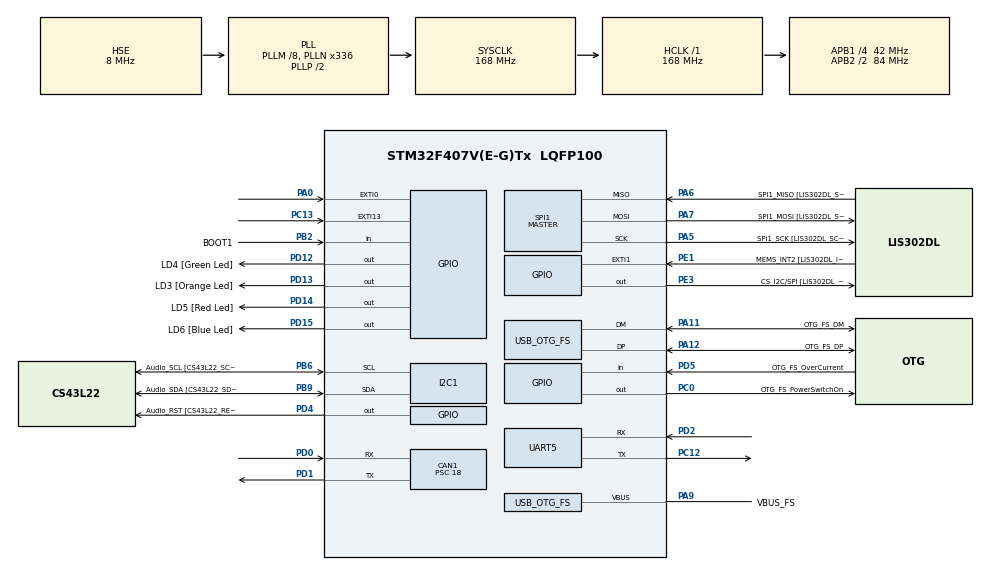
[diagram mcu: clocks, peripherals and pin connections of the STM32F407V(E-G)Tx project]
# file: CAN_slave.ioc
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CAN1.BS1=CAN_BS1_2TQ
CAN1.BS2=CAN_BS2_2TQ
CAN1.CalculateBaudRate=466666
CAN1.CalculateTimeBit=2142
CAN1.CalculateTimeQuantum=428.57142857142856
CAN1.Prescaler=18
Mcu.Family=STM32F4
Mcu.Name=STM32F407V(E-G)Tx
Mcu.Package=LQFP100
NVIC.CAN1_RX1_IRQn=true\:0\:0\:false\:false\:true\:true\:true\:true
NVIC.EXTI0_IRQn=true\:0\:0\:false\:false\:true\:true\:true\:true
NVIC.EXTI15_10_IRQn=true\:0\:0\:false\:false\:true\:true\:true\:true
NVIC.OTG_FS_IRQn=true\:0\:0\:false\:false\:true\:true\:true\:true
NVIC.PriorityGroup=NVIC_PRIORITYGROUP_0
PA0-WKUP.GPIO_ModeDefaultEXTI=GPIO_MODE_IT_RISING
PA0-WKUP.Signal=GPXTI0
PA10.GPIO_Label=OTG_FS_ID
PA10.GPIO_Mode=GPIO_MODE_AF_PP
PA10.GPIO_PuPd=GPIO_NOPULL
PA10.GPIO_Speed=GPIO_SPEED_FREQ_LOW
PA10.Signal=USB_OTG_FS_ID
PA11.GPIO_Label=OTG_FS_DM
PA11.GPIO_Mode=GPIO_MODE_AF_PP
PA11.GPIO_PuPd=GPIO_NOPULL
PA11.GPIO_Speed=GPIO_SPEED_FREQ_LOW
PA11.Mode=Host_Only
PA11.Signal=USB_OTG_FS_DM
PA12.GPIO_Label=OTG_FS_DP
PA12.GPIO_Mode=GPIO_MODE_AF_PP
PA12.GPIO_PuPd=GPIO_NOPULL
PA12.GPIO_Speed=GPIO_SPEED_FREQ_LOW
PA12.Mode=Host_Only
PA12.Signal=USB_OTG_FS_DP
PA13.GPIO_Label=SWDIO
PA13.Mode=Serial_Wire
PA13.Signal=SYS_JTMS-SWDIO
PA14.GPIO_Label=SWCLK
PA14.Mode=Serial_Wire
PA14.Signal=SYS_JTCK-SWCLK
PA4.GPIO_Label=I2S3_WS [CS43L22_LRCK]
PA4.GPIO_Mode=GPIO_MODE_AF_PP
PA4.GPIO_PuPd=GPIO_NOPULL
PA4.GPIO_Speed=GPIO_SPEED_FREQ_LOW
PA4.Signal=I2S3_WS
PA5.GPIO_Label=SPI1_SCK [LIS302DL_SCL/SPC]
PA5.GPIO_Mode=GPIO_MODE_AF_PP
PA5.GPIO_PuPd=GPIO_NOPULL
PA5.GPIO_Speed=GPIO_SPEED_FREQ_LOW
PA5.Mode=Full_Duplex_Master
PA5.Signal=SPI1_SCK
PA6.GPIO_Label=SPI1_MISO [LIS302DL_SDO]
PA6.GPIO_Mode=GPIO_MODE_AF_PP
PA6.GPIO_PuPd=GPIO_NOPULL
PA6.GPIO_Speed=GPIO_SPEED_FREQ_LOW
PA6.Mode=Full_Duplex_Master
PA6.Signal=SPI1_MISO
PA7.GPIO_Label=SPI1_MOSI [LIS302DL_SDA/SDI/SDO]
PA7.GPIO_Mode=GPIO_MODE_AF_PP
PA7.GPIO_PuPd=GPIO_NOPULL
PA7.GPIO_Speed=GPIO_SPEED_FREQ_LOW
PA7.Mode=Full_Duplex_Master
PA7.Signal=SPI1_MOSI
PA9.GPIO_Label=VBUS_FS
PA9.GPIO_Mode=GPIO_MODE_INPUT
PA9.GPIO_PuPd=GPIO_NOPULL
PA9.Mode=Activate_VBUS
PA9.Signal=USB_OTG_FS_VBUS
PB10.GPIO_Label=CLK_IN [MP45DT02_CLK]
PB10.GPIO_Mode=GPIO_MODE_AF_PP
PB10.GPIO_PuPd=GPIO_NOPULL
PB10.GPIO_Speed=GPIO_SPEED_FREQ_LOW
PB10.Signal=I2S2_CK
PB2.GPIO_Label=BOOT1
PB2.GPIO_Mode=GPIO_MODE_INPUT
PB2.GPIO_PuPd=GPIO_NOPULL
PB2.Signal=GPIO_Input
PB3.GPIO_Label=SWO
PB3.Signal=SYS_JTDO-SWO
PB6.GPIO_Label=Audio_SCL [CS43L22_SCL]
PB6.GPIO_Mode=GPIO_MODE_AF_OD
PB6.GPIO_Pu=GPIO_PULLUP
PB6.GPIO_PuPd=GPIO_NOPULL
PB6.GPIO_Speed=GPIO_SPEED_FREQ_LOW
PB6.Mode=I2C
PB6.Signal=I2C1_SCL
PB9.GPIO_Label=Audio_SDA [CS43L22_SDA]
PB9.GPIO_Mode=GPIO_MODE_AF_OD
PB9.GPIO_Pu=GPIO_PULLUP
PB9.GPIO_PuPd=GPIO_NOPULL
PB9.GPIO_Speed=GPIO_SPEED_FREQ_LOW
PB9.Mode=I2C
PB9.Signal=I2C1_SDA
PC0.GPIO_Label=OTG_FS_PowerSwitchOn
PC0.GPIO_PuPd=GPIO_NOPULL
PC0.GPIO_Speed=GPIO_SPEED_FREQ_LOW
PC0.PinState=GPIO_PIN_SET
PC0.Signal=GPIO_Output
PC10.GPIO_Label=I2S3_SCK [CS43L22_SCLK]
PC10.GPIO_Mode=GPIO_MODE_AF_PP
PC10.GPIO_PuPd=GPIO_NOPULL
PC10.GPIO_Speed=GPIO_SPEED_FREQ_LOW
PC10.Signal=I2S3_CK
PC12.Mode=Asynchronous
PC12.Signal=UART5_TX
PC13-ANTI_TAMP.Signal=GPXTI13
PC14-OSC32_IN.GPIO_Label=PC14-OSC32_IN
PC14-OSC32_IN.Mode=LSE-External-Oscillator
PC14-OSC32_IN.Signal=RCC_OSC32_IN
PC15-OSC32_OUT.GPIO_Label=PC15-OSC32_OUT
PC15-OSC32_OUT.Mode=LSE-External-Oscillator
PC15-OSC32_OUT.Signal=RCC_OSC32_OUT
PC3.GPIO_Label=PDM_OUT [MP45DT02_DOUT]
PC3.GPIO_Mode=GPIO_MODE_AF_PP
PC3.GPIO_PuPd=GPIO_NOPULL
PC3.GPIO_Speed=GPIO_SPEED_FREQ_LOW
PC3.Signal=I2S2_SD
PC7.GPIO_Label=I2S3_MCK [CS43L22_MCLK]
PC7.GPIO_Mode=GPIO_MODE_AF_PP
PC7.GPIO_PuPd=GPIO_NOPULL
PC7.GPIO_Speed=GPIO_SPEED_FREQ_LOW
PC7.Signal=I2S3_MCK
PD0.GPIO_Mode=GPIO_MODE_AF_PP
PD0.GPIO_PuPd=GPIO_NOPULL
PD0.GPIO_Speed=GPIO_SPEED_FREQ_VERY_HIGH
PD0.Mode=CAN_Activate
PD0.Signal=CAN1_RX
PD1.GPIO_Mode=GPIO_MODE_AF_PP
PD1.GPIO_PuPd=GPIO_NOPULL
PD1.GPIO_Speed=GPIO_SPEED_FREQ_VERY_HIGH
PD1.Mode=CAN_Activate
PD1.Signal=CAN1_TX
PD12.GPIO_Label=LD4 [Green Led]
PD12.GPIO_PuPd=GPIO_NOPULL
PD12.GPIO_Speed=GPIO_SPEED_FREQ_LOW
PD12.Signal=GPIO_Output
PD13.GPIO_Label=LD3 [Orange Led]
PD13.GPIO_PuPd=GPIO_NOPULL
PD13.GPIO_Speed=GPIO_SPEED_FREQ_LOW
PD13.Signal=GPIO_Output
PD14.GPIO_Label=LD5 [Red Led]
PD14.GPIO_PuPd=GPIO_NOPULL
PD14.GPIO_Speed=GPIO_SPEED_FREQ_LOW
PD14.Signal=GPIO_Output
PD15.GPIO_Label=LD6 [Blue Led]
PD15.GPIO_PuPd=GPIO_NOPULL
PD15.GPIO_Speed=GPIO_SPEED_FREQ_LOW
PD15.Signal=GPIO_Output
PD2.Mode=Asynchronous
PD2.Signal=UART5_RX
PD4.GPIO_Label=Audio_RST [CS43L22_RESET]
PD4.GPIO_PuPd=GPIO_NOPULL
PD4.GPIO_Speed=GPIO_SPEED_FREQ_LOW
PD4.Signal=GPIO_Output
PD5.GPIO_Label=OTG_FS_OverCurrent
PD5.GPIO_Mode=GPIO_MODE_INPUT
PD5.GPIO_PuPd=GPIO_NOPULL
PD5.Signal=GPIO_Input
PE1.GPIO_Label=MEMS_INT2 [LIS302DL_INT2]
PE1.GPIO_ModeDefaultEXTI=GPIO_MODE_EVT_RISING
PE1.GPIO_PuPd=GPIO_NOPULL
PE1.Signal=GPXTI1
PE3.GPIO_Label=CS_I2C/SPI [LIS302DL_CS_I2C/SPI]
PE3.GPIO_PuPd=GPIO_NOPULL
PE3.GPIO_Speed=GPIO_SPEED_FREQ_LOW
PE3.Signal=GPIO_Output
PH0-OSC_IN.GPIO_Label=PH0-OSC_IN
PH0-OSC_IN.Mode=HSE-External-Oscillator
PH0-OSC_IN.Signal=RCC_OSC_IN
PH1-OSC_OUT.GPIO_Label=PH1-OSC_OUT
PH1-OSC_OUT.Mode=HSE-External-Oscillator
PH1-OSC_OUT.Signal=RCC_OSC_OUT
ProjectManager.HeapSize=0x200
ProjectManager.StackSize=0x400
ProjectManager.TargetToolchain=STM32CubeIDE
RCC.48MHZClocksFreq_Value=48000000
RCC.AHBFreq_Value=168000000
RCC.APB1CLKDivider=RCC_HCLK_DIV4
RCC.APB1Freq_Value=42000000
RCC.APB1TimFreq_Value=84000000
RCC.APB2CLKDivider=RCC_HCLK_DIV2
RCC.APB2Freq_Value=84000000
RCC.APB2TimFreq_Value=168000000
RCC.CortexFreq_Value=168000000
RCC.HCLKFreq_Value=168000000
RCC.HSE_VALUE=8000000
RCC.HSI_VALUE=16000000
RCC.PLLM=8
RCC.PLLN=336
RCC.PLLQ=7
RCC.SYSCLKFreq_VALUE=168000000
RCC.SYSCLKSource=RCC_SYSCLKSOURCE_PLLCLK
RCC.VCOOutputFreq_Value=336000000
SPI1.BaudRatePrescaler-Full_Duplex_Master=SPI_BAUDRATEPRESCALER_2
SPI1.CalculateBaudRate-Full_Duplex_Master=42.0 MBits/s
SPI1.Direction=SPI_DIRECTION_2LINES
SPI1.Mode=SPI_MODE_MASTER
SPI1.Mode-Full_Duplex_Master=SPI_MODE_MASTER
SPI1.VirtualType=VM_MASTER
UART5.VirtualMode=Asynchronous
USB_HOST.BSP.number=1
USB_HOST.USBH_HandleTypeDef-CDC_FS=hUsbHostFS
USB_HOST.VirtualModeFS=Cdc
USB_HOST0.BSP.STBoard=false
USB_HOST0.BSP.api=Unknown
USB_HOST0.BSP.instance=PC0
USB_HOST0.BSP.ip=GPIO
USB_HOST0.BSP.mode=Output
USB_HOST0.BSP.name=Drive_VBUS_FS
USB_HOST0.BSP.solution=PC0
USB_OTG_FS.VirtualMode=Host_Only
USB_OTG_FS.phy_itface=HCD_PHY_EMBEDDED
VP_USB_HOST_VS_USB_HOST_CDC_FS.Mode=CDC_FS
board=STM32F407G-DISC1

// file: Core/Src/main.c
/* USER CODE BEGIN Header */
/**
  ******************************************************************************
  * @file           : main.c
  * @brief          : Main program body
  ******************************************************************************
  * @attention
  *
  * Copyright (c) 2023 STMicroelectronics.
  * All rights reserved.
  *
  * This software is licensed under terms that can be found in the LICENSE file
  * in the root directory of this software component.
  * If no LICENSE file comes with this software, it is provided AS-IS.
  *
  ******************************************************************************
  */
/* USER CODE END Header */
#include "main.h"
#include "usb_host.h"

CAN_HandleTypeDef hcan1;

I2C_HandleTypeDef hi2c1;

SPI_HandleTypeDef hspi1;

UART_HandleTypeDef huart5;

void SystemClock_Config(void);
static void MX_GPIO_Init(void);
static void MX_I2C1_Init(void);
static void MX_SPI1_Init(void);
static void MX_CAN1_Init(void);
static void MX_UART5_Init(void);
void MX_USB_HOST_Process(void);

/* USER CODE BEGIN 0 */

	  char temp[30]; // gia tri cua nhiet do
	  char humi[30]; // gia tri cua do am

	CAN_TxHeaderTypeDef TxHeader;
	CAN_RxHeaderTypeDef RxHeader;

	uint8_t TxData[8];
	uint8_t RxData[8];

	uint32_t TxMailbox;

	int datacheck = 0;

	void HAL_CAN_RxFifo1MsgPendingCallback(CAN_HandleTypeDef *hcan)
	{
		if (HAL_CAN_GetRxMessage(hcan, CAN_RX_FIFO1, &RxHeader, RxData) != HAL_OK) //add
		{
			Error_Handler();
		}
		HAL_GPIO_WritePin(GPIOD, GPIO_PIN_12, GPIO_PIN_SET);

		//if (RxHeader.DLC == 2)

		if (RxHeader.StdId== 0x446)
		{
			datacheck = 1;
		}

	}

/* USER CODE END 0 */

int main(void)
{

  /* MCU Configuration--------------------------------------------------------*/

  /* Reset of all peripherals, Initializes the Flash interface and the Systick. */
  HAL_Init();

  /* Configure the system clock */
  SystemClock_Config();

  /* Initialize all configured peripherals */
  MX_GPIO_Init();
  MX_I2C1_Init();
  MX_SPI1_Init();
  MX_USB_HOST_Init();
  MX_CAN1_Init();
  MX_UART5_Init();
  /* USER CODE BEGIN 2 */

  	HAL_CAN_Start(&hcan1);
  	// Activate the notification
  	if (HAL_CAN_ActivateNotification(&hcan1, CAN_IT_RX_FIFO1_MSG_PENDING) != HAL_OK)
  	{
  		Error_Handler();
  	}

  	TxHeader.DLC = 4;  // Data length
  	TxHeader.IDE = CAN_ID_STD;
  	TxHeader.RTR = CAN_RTR_DATA;
  	TxHeader.StdId = 0x103;  // ID

  	RxHeader.DLC = 4;

  	TxData[0] = 50; // Delay (ms)
  	TxData[1] = 20; // Numbers of Loop

  	/* Infinite loop */
  	/* USER CODE BEGIN WHILE */

  /* USER CODE END 2 */

  /* Infinite loop */
  /* USER CODE BEGIN WHILE */

  /* USER CODE END 2 */

  /* Infinite loop */
  /* USER CODE BEGIN WHILE */

  /* USER CODE END 2 */

  /* Infinite loop */
  /* USER CODE BEGIN WHILE */

  /* USER CODE END 2 */

  /* Infinite loop */
  /* USER CODE BEGIN WHILE */

  /* USER CODE END 2 */

  /* Infinite loop */
  /* USER CODE BEGIN WHILE */

  /* USER CODE END 2 */

  /* Infinite loop */
  /* USER CODE BEGIN WHILE */

  /* USER CODE END 2 */

  /* Infinite loop */
  /* USER CODE BEGIN WHILE */

  /* USER CODE END 2 */

  /* Infinite loop */
  /* USER CODE BEGIN WHILE */

  /* USER CODE END 2 */

  /* Infinite loop */
  /* USER CODE BEGIN WHILE */

  /* USER CODE END 2 */

  /* Infinite loop */
  /* USER CODE BEGIN WHILE */

  /* USER CODE END 2 */

  /* Infinite loop */
  /* USER CODE BEGIN WHILE */

  /* USER CODE END 2 */

  /* Infinite loop */
  /* USER CODE BEGIN WHILE */

  /* USER CODE END 2 */

  /* Infinite loop */
  /* USER CODE BEGIN WHILE */

  while (1)
  {
    /* USER CODE END WHILE */
    MX_USB_HOST_Process();

    /* USER CODE BEGIN 3 */

    // blink the LED
    if(datacheck)
    {
		for (int i = 0; i < RxData[1]; i++)
		{
			HAL_GPIO_TogglePin(GPIOD, GPIO_PIN_14); // green led
			HAL_Delay(RxData[0]);
		}
		datacheck = 0;

	  	TxData[0] = 50; // Delay (ms)
	  	TxData[1] = 20; // Numbers of Loop

	  	// uint8t to char
	  	sprintf(temp, "Value of Temperature = %d\r\n", RxData[2]);
	  	sprintf(humi, "Value of Humidity = %d\r\n", RxData[3]);

	  	// Send Uart
		HAL_UART_Transmit(&huart5, temp , strlen(temp) , HAL_MAX_DELAY);
		HAL_UART_Transmit(&huart5, humi , strlen(humi) , HAL_MAX_DELAY);

		HAL_Delay(500);

	  	if (HAL_CAN_AddTxMessage(&hcan1, &TxHeader, TxData, &TxMailbox) != HAL_OK)  //add data to the transmission frame
		{
			Error_Handler();
	  	}

    }
  }
  /* USER CODE END 3 */
}

void SystemClock_Config(void)
{
  RCC_OscInitTypeDef RCC_OscInitStruct = {0};
  RCC_ClkInitTypeDef RCC_ClkInitStruct = {0};

  /** Configure the main internal regulator output voltage
  */
  __HAL_RCC_PWR_CLK_ENABLE();
  __HAL_PWR_VOLTAGESCALING_CONFIG(PWR_REGULATOR_VOLTAGE_SCALE1);

  /** Initializes the RCC Oscillators according to the specified parameters
  * in the RCC_OscInitTypeDef structure.
  */
  RCC_OscInitStruct.OscillatorType = RCC_OSCILLATORTYPE_HSE;
  RCC_OscInitStruct.HSEState = RCC_HSE_ON;
  RCC_OscInitStruct.PLL.PLLState = RCC_PLL_ON;
  RCC_OscInitStruct.PLL.PLLSource = RCC_PLLSOURCE_HSE;
  RCC_OscInitStruct.PLL.PLLM = 8;
  RCC_OscInitStruct.PLL.PLLN = 336;
  RCC_OscInitStruct.PLL.PLLP = RCC_PLLP_DIV2;
  RCC_OscInitStruct.PLL.PLLQ = 7;
  if (HAL_RCC_OscConfig(&RCC_OscInitStruct) != HAL_OK)
  {
    Error_Handler();
  }

  /** Initializes the CPU, AHB and APB buses clocks
  */
  RCC_ClkInitStruct.ClockType = RCC_CLOCKTYPE_HCLK|RCC_CLOCKTYPE_SYSCLK
                              |RCC_CLOCKTYPE_PCLK1|RCC_CLOCKTYPE_PCLK2;
  RCC_ClkInitStruct.SYSCLKSource = RCC_SYSCLKSOURCE_PLLCLK;
  RCC_ClkInitStruct.AHBCLKDivider = RCC_SYSCLK_DIV1;
  RCC_ClkInitStruct.APB1CLKDivider = RCC_HCLK_DIV4;
  RCC_ClkInitStruct.APB2CLKDivider = RCC_HCLK_DIV2;

  if (HAL_RCC_ClockConfig(&RCC_ClkInitStruct, FLASH_LATENCY_5) != HAL_OK)
  {
    Error_Handler();
  }
}

static void MX_CAN1_Init(void)
{

  hcan1.Instance = CAN1;
  hcan1.Init.Prescaler = 18;
  hcan1.Init.Mode = CAN_MODE_NORMAL;
  hcan1.Init.SyncJumpWidth = CAN_SJW_1TQ;
  hcan1.Init.TimeSeg1 = CAN_BS1_2TQ;
  hcan1.Init.TimeSeg2 = CAN_BS2_2TQ;
  hcan1.Init.TimeTriggeredMode = DISABLE;
  hcan1.Init.AutoBusOff = DISABLE;
  hcan1.Init.AutoWakeUp = DISABLE;
  hcan1.Init.AutoRetransmission = DISABLE;
  hcan1.Init.ReceiveFifoLocked = DISABLE;
  hcan1.Init.TransmitFifoPriority = DISABLE;
  if (HAL_CAN_Init(&hcan1) != HAL_OK)
  {
    Error_Handler();
  }
  /* USER CODE BEGIN CAN1_Init 2 */

	CAN_FilterTypeDef canfilterconfig;

	canfilterconfig.FilterActivation = CAN_FILTER_ENABLE;
	canfilterconfig.FilterBank = 10; // which filter bank to use from the assigned ones
	canfilterconfig.FilterFIFOAssignment = CAN_FILTER_FIFO1;
	canfilterconfig.FilterIdHigh = 0x446 << 5;
	canfilterconfig.FilterIdLow = 0;
	canfilterconfig.FilterMaskIdHigh = 0x446 << 5;
	canfilterconfig.FilterMaskIdLow = 0x0000;
	canfilterconfig.FilterMode = CAN_FILTERMODE_IDMASK;
	canfilterconfig.FilterScale = CAN_FILTERSCALE_32BIT;
	canfilterconfig.SlaveStartFilterBank = 0; // doesn't matter in single can controllers

  	HAL_CAN_ConfigFilter(&hcan1, &canfilterconfig); // add

  /* USER CODE END CAN1_Init 2 */

}

static void MX_I2C1_Init(void)
{

  hi2c1.Instance = I2C1;
  hi2c1.Init.ClockSpeed = 100000;
  hi2c1.Init.DutyCycle = I2C_DUTYCYCLE_2;
  hi2c1.Init.OwnAddress1 = 0;
  hi2c1.Init.AddressingMode = I2C_ADDRESSINGMODE_7BIT;
  hi2c1.Init.DualAddressMode = I2C_DUALADDRESS_DISABLE;
  hi2c1.Init.OwnAddress2 = 0;
  hi2c1.Init.GeneralCallMode = I2C_GENERALCALL_DISABLE;
  hi2c1.Init.NoStretchMode = I2C_NOSTRETCH_DISABLE;
  if (HAL_I2C_Init(&hi2c1) != HAL_OK)
  {
    Error_Handler();
  }

}

static void MX_SPI1_Init(void)
{

  /* SPI1 parameter configuration*/
  hspi1.Instance = SPI1;
  hspi1.Init.Mode = SPI_MODE_MASTER;
  hspi1.Init.Direction = SPI_DIRECTION_2LINES;
  hspi1.Init.DataSize = SPI_DATASIZE_8BIT;
  hspi1.Init.CLKPolarity = SPI_POLARITY_LOW;
  hspi1.Init.CLKPhase = SPI_PHASE_1EDGE;
  hspi1.Init.NSS = SPI_NSS_SOFT;
  hspi1.Init.BaudRatePrescaler = SPI_BAUDRATEPRESCALER_2;
  hspi1.Init.FirstBit = SPI_FIRSTBIT_MSB;
  hspi1.Init.TIMode = SPI_TIMODE_DISABLE;
  hspi1.Init.CRCCalculation = SPI_CRCCALCULATION_DISABLE;
  hspi1.Init.CRCPolynomial = 10;
  if (HAL_SPI_Init(&hspi1) != HAL_OK)
  {
    Error_Handler();
  }

}

static void MX_UART5_Init(void)
{

  huart5.Instance = UART5;
  huart5.Init.BaudRate = 115200;
  huart5.Init.WordLength = UART_WORDLENGTH_8B;
  huart5.Init.StopBits = UART_STOPBITS_1;
  huart5.Init.Parity = UART_PARITY_NONE;
  huart5.Init.Mode = UART_MODE_TX_RX;
  huart5.Init.HwFlowCtl = UART_HWCONTROL_NONE;
  huart5.Init.OverSampling = UART_OVERSAMPLING_16;
  if (HAL_UART_Init(&huart5) != HAL_OK)
  {
    Error_Handler();
  }

}

static void MX_GPIO_Init(void)
{
  GPIO_InitTypeDef GPIO_InitStruct = {0};

  /* GPIO Ports Clock Enable */
  __HAL_RCC_GPIOE_CLK_ENABLE();
  __HAL_RCC_GPIOC_CLK_ENABLE();
  __HAL_RCC_GPIOH_CLK_ENABLE();
  __HAL_RCC_GPIOA_CLK_ENABLE();
  __HAL_RCC_GPIOB_CLK_ENABLE();
  __HAL_RCC_GPIOD_CLK_ENABLE();

  /*Configure GPIO pin Output Level */
  HAL_GPIO_WritePin(CS_I2C_SPI_GPIO_Port, CS_I2C_SPI_Pin, GPIO_PIN_RESET);

  /*Configure GPIO pin Output Level */
  HAL_GPIO_WritePin(OTG_FS_PowerSwitchOn_GPIO_Port, OTG_FS_PowerSwitchOn_Pin, GPIO_PIN_SET);

  /*Configure GPIO pin Output Level */
  HAL_GPIO_WritePin(GPIOD, LD4_Pin|LD3_Pin|LD5_Pin|LD6_Pin
                          |Audio_RST_Pin, GPIO_PIN_RESET);

  /*Configure GPIO pin : CS_I2C_SPI_Pin */
  GPIO_InitStruct.Pin = CS_I2C_SPI_Pin;
  GPIO_InitStruct.Mode = GPIO_MODE_OUTPUT_PP;
  GPIO_InitStruct.Pull = GPIO_NOPULL;
  GPIO_InitStruct.Speed = GPIO_SPEED_FREQ_LOW;
  HAL_GPIO_Init(CS_I2C_SPI_GPIO_Port, &GPIO_InitStruct);

  /*Configure GPIO pin : PC13 */
  GPIO_InitStruct.Pin = GPIO_PIN_13;
  GPIO_InitStruct.Mode = GPIO_MODE_IT_RISING;
  GPIO_InitStruct.Pull = GPIO_NOPULL;
  HAL_GPIO_Init(GPIOC, &GPIO_InitStruct);

  /*Configure GPIO pin : OTG_FS_PowerSwitchOn_Pin */
  GPIO_InitStruct.Pin = OTG_FS_PowerSwitchOn_Pin;
  GPIO_InitStruct.Mode = GPIO_MODE_OUTPUT_PP;
  GPIO_InitStruct.Pull = GPIO_NOPULL;
  GPIO_InitStruct.Speed = GPIO_SPEED_FREQ_LOW;
  HAL_GPIO_Init(OTG_FS_PowerSwitchOn_GPIO_Port, &GPIO_InitStruct);

  /*Configure GPIO pin : PDM_OUT_Pin */
  GPIO_InitStruct.Pin = PDM_OUT_Pin;
  GPIO_InitStruct.Mode = GPIO_MODE_AF_PP;
  GPIO_InitStruct.Pull = GPIO_NOPULL;
  GPIO_InitStruct.Speed = GPIO_SPEED_FREQ_LOW;
  GPIO_InitStruct.Alternate = GPIO_AF5_SPI2;
  HAL_GPIO_Init(PDM_OUT_GPIO_Port, &GPIO_InitStruct);

  /*Configure GPIO pin : PA0 */
  GPIO_InitStruct.Pin = GPIO_PIN_0;
  GPIO_InitStruct.Mode = GPIO_MODE_IT_RISING;
  GPIO_InitStruct.Pull = GPIO_NOPULL;
  HAL_GPIO_Init(GPIOA, &GPIO_InitStruct);

  /*Configure GPIO pin : I2S3_WS_Pin */
  GPIO_InitStruct.Pin = I2S3_WS_Pin;
  GPIO_InitStruct.Mode = GPIO_MODE_AF_PP;
  GPIO_InitStruct.Pull = GPIO_NOPULL;
  GPIO_InitStruct.Speed = GPIO_SPEED_FREQ_LOW;
  GPIO_InitStruct.Alternate = GPIO_AF6_SPI3;
  HAL_GPIO_Init(I2S3_WS_GPIO_Port, &GPIO_InitStruct);

  /*Configure GPIO pin : BOOT1_Pin */
  GPIO_InitStruct.Pin = BOOT1_Pin;
  GPIO_InitStruct.Mode = GPIO_MODE_INPUT;
  GPIO_InitStruct.Pull = GPIO_NOPULL;
  HAL_GPIO_Init(BOOT1_GPIO_Port, &GPIO_InitStruct);

  /*Configure GPIO pin : CLK_IN_Pin */
  GPIO_InitStruct.Pin = CLK_IN_Pin;
  GPIO_InitStruct.Mode = GPIO_MODE_AF_PP;
  GPIO_InitStruct.Pull = GPIO_NOPULL;
  GPIO_InitStruct.Speed = GPIO_SPEED_FREQ_LOW;
  GPIO_InitStruct.Alternate = GPIO_AF5_SPI2;
  HAL_GPIO_Init(CLK_IN_GPIO_Port, &GPIO_InitStruct);

  /*Configure GPIO pins : LD4_Pin LD3_Pin LD5_Pin LD6_Pin
                           Audio_RST_Pin */
  GPIO_InitStruct.Pin = LD4_Pin|LD3_Pin|LD5_Pin|LD6_Pin
                          |Audio_RST_Pin;
  GPIO_InitStruct.Mode = GPIO_MODE_OUTPUT_PP;
  GPIO_InitStruct.Pull = GPIO_NOPULL;
  GPIO_InitStruct.Speed = GPIO_SPEED_FREQ_LOW;
  HAL_GPIO_Init(GPIOD, &GPIO_InitStruct);

  /*Configure GPIO pins : I2S3_MCK_Pin I2S3_SCK_Pin */
  GPIO_InitStruct.Pin = I2S3_MCK_Pin|I2S3_SCK_Pin;
  GPIO_InitStruct.Mode = GPIO_MODE_AF_PP;
  GPIO_InitStruct.Pull = GPIO_NOPULL;
  GPIO_InitStruct.Speed = GPIO_SPEED_FREQ_LOW;
  GPIO_InitStruct.Alternate = GPIO_AF6_SPI3;
  HAL_GPIO_Init(GPIOC, &GPIO_InitStruct);

  /*Configure GPIO pin : OTG_FS_OverCurrent_Pin */
  GPIO_InitStruct.Pin = OTG_FS_OverCurrent_Pin;
  GPIO_InitStruct.Mode = GPIO_MODE_INPUT;
  GPIO_InitStruct.Pull = GPIO_NOPULL;
  HAL_GPIO_Init(OTG_FS_OverCurrent_GPIO_Port, &GPIO_InitStruct);

  /*Configure GPIO pin : MEMS_INT2_Pin */
  GPIO_InitStruct.Pin = MEMS_INT2_Pin;
  GPIO_InitStruct.Mode = GPIO_MODE_EVT_RISING;
  GPIO_InitStruct.Pull = GPIO_NOPULL;
  HAL_GPIO_Init(MEMS_INT2_GPIO_Port, &GPIO_InitStruct);

  /* EXTI interrupt init*/
  HAL_NVIC_SetPriority(EXTI0_IRQn, 0, 0);
  HAL_NVIC_EnableIRQ(EXTI0_IRQn);

  HAL_NVIC_SetPriority(EXTI15_10_IRQn, 0, 0);
  HAL_NVIC_EnableIRQ(EXTI15_10_IRQn);

}

void Error_Handler(void)
{
  __disable_irq();
  while (1)
  {
  }
}
